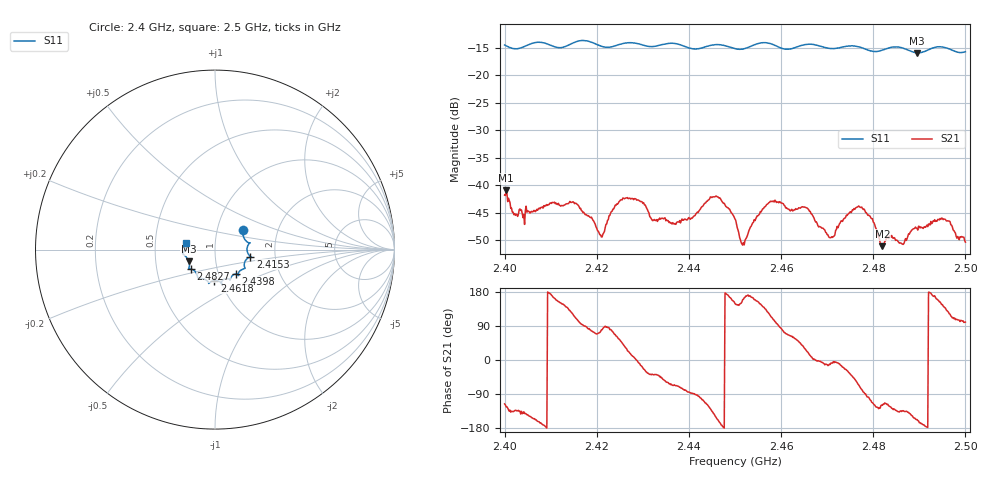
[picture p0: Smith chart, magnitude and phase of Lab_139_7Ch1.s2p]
# Hz S RI R
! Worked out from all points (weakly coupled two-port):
!   601 points, 2.4 GHz to 2.5 GHz, reference 50 ohm
!   highest |S21| = -40.89 dB at 2.4003 GHz (marker M1); lowest = -51.1 dB at 2.482 GHz (marker M2)
!   lowest |S11| = -15.9 dB at 2.4895 GHz (marker M3), VSWR 1.38, Z = 37 - j5.01 ohm
!   |S11| at or under -10 dB: start of sweep to end of sweep
!   S12 and S22 are empty: the file has one direction only
!   S11 on the Smith chart (normalised r, x): 2.4 GHz: 1.33, +0.30; 2.4153 GHz: 1.48, -0.12; 2.4398 GHz: 1.21, -0.34; 2.4618 GHz: 0.94, -0.33; 2.4827 GHz: 0.75, -0.17; 2.5 GHz: 0.72, +0.06
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2.4e9  0.1556 0.1069  -0.00356 -0.00734  0 0  0 0
2.400333e9  0.1551 0.1013  -0.00498 -0.00753  0 0  0 0
2.4025e9  0.1609 0.0663  -0.00374 -0.00399  0 0  0 0
2.415333e9  0.1967 -0.0391  -0.00253 0.00639  0 0  0 0
2.416667e9  0.2025 -0.0431  -0.000463 0.00589  0 0  0 0
2.421e9  0.1757 -0.0534  0.000622 0.00334  0 0  0 0
2.426167e9  0.1674 -0.1024  0.00633 0.00424  0 0  0 0
2.433333e9  0.1295 -0.1339  0.00371 -0.0032  0 0  0 0
2.439833e9  0.1154 -0.1357  0.000462 -0.00499  0 0  0 0
2.445833e9  0.0844 -0.1703  -0.00694 -0.00394  0 0  0 0
2.45e9  0.0655 -0.162  -0.00423 0.00255  0 0  0 0
2.451833e9  0.0463 -0.1673  -0.00285 0.001  0 0  0 0
2.457333e9  0.0391 -0.1921  -0.0038 0.00581  0 0  0 0
2.461833e9  -0.00322 -0.1729  0.00255 0.00538  0 0  0 0
2.466667e9  -0.0349 -0.1882  0.00544 0.000706  0 0  0 0
2.471e9  -0.0587 -0.1647  0.00338 -0.000484  0 0  0 0
2.477167e9  -0.0971 -0.1516  0.00193 -0.006  0 0  0 0
2.482e9  -0.1285 -0.11  -0.00138 -0.00243  0 0  0 0
2.482667e9  -0.1348 -0.1085  -0.00132 -0.00285  0 0  0 0
2.483333e9  -0.14 -0.1081  -0.00167 -0.00282  0 0  0 0
2.4895e9  -0.1455 -0.066  -0.00373 -0.00158  0 0  0 0
2.5e9  -0.1592 0.0382  -0.000529 0.003  0 0  0 0
